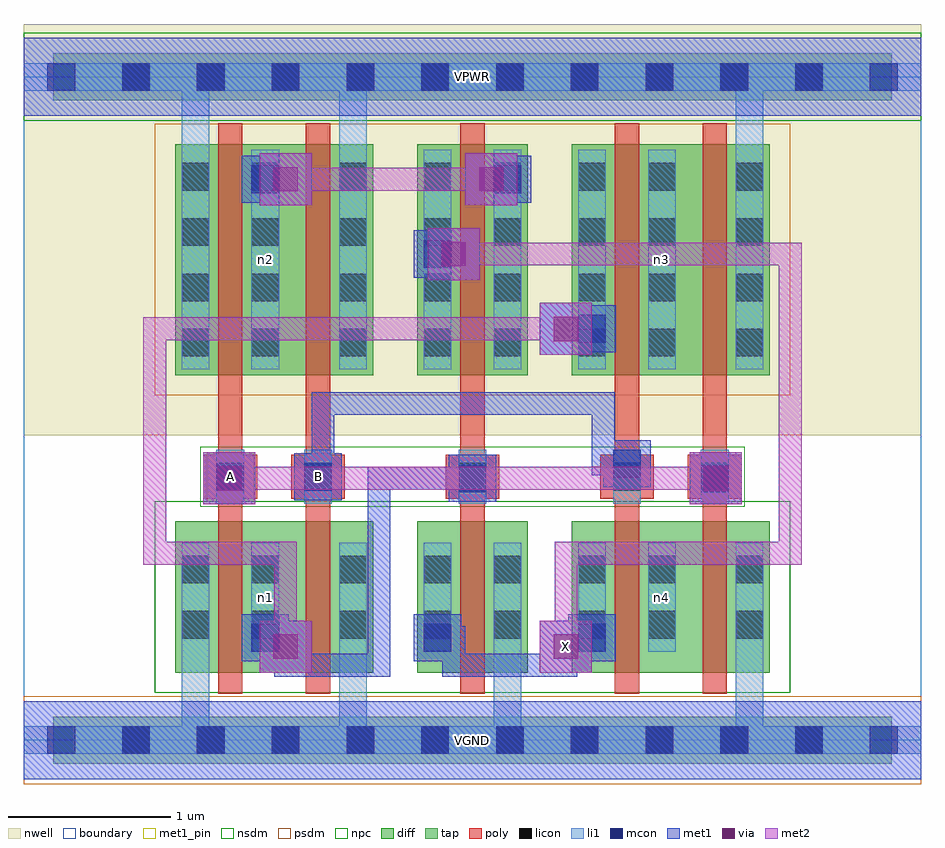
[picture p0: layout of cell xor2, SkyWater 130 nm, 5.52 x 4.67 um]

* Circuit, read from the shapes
.subckt xor2 A B VGND VPWR X n1 n2 n3 n4
XM1 n1 A VGND VGND sky130_fd_pr__nfet_01v8 w=0.93 l=0.15
XM2 VGND B n1 VGND sky130_fd_pr__nfet_01v8 w=0.93 l=0.15
XM3 VGND n1 X VGND sky130_fd_pr__nfet_01v8 w=0.93 l=0.15
XM4 n4 B X VGND sky130_fd_pr__nfet_01v8 w=0.93 l=0.15
XM5 VGND A n4 VGND sky130_fd_pr__nfet_01v8 w=0.93 l=0.15
XM6 n2 A VPWR VPWR sky130_fd_pr__pfet_01v8 w=1.42 l=0.15
XM7 VPWR B n2 VPWR sky130_fd_pr__pfet_01v8 w=1.42 l=0.15
XM8 n2 n1 X VPWR sky130_fd_pr__pfet_01v8 w=1.42 l=0.15
XM9 n3 B n1 VPWR sky130_fd_pr__pfet_01v8 w=1.42 l=0.15
XM10 VPWR A n3 VPWR sky130_fd_pr__pfet_01v8 w=1.42 l=0.15
.ends

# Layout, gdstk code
import gdstk
lib = gdstk.Library(unit=1e-6, precision=1e-09)
def R(c, l, rs):  # rectangles x0, y0, x1, y1
    for r in rs: c.add(gdstk.rectangle(r[:2], r[2:], *l))
def A(c, l, x, y, w, h, nx, ny, dx, dy):  # array of equal rectangles
    R(c, l, [(x+i*dx, y+j*dy, x+i*dx+w, y+j*dy+h) for i in range(nx) for j in range(ny)])
nwell = (64, 20)
diff = (65, 20)
tap = (65, 44)
poly = (66, 20)
licon = (66, 44)
li1 = (67, 20)
mcon = (67, 44)
met1_pin = (68, 16)
met1 = (68, 20)
via = (68, 44)
met2 = (69, 20)
nsdm = (93, 44)
psdm = (94, 20)
npc = (95, 20)
boundary = (235, 4)

xor2 = lib.new_cell('xor2')
R(xor2, nwell, [(0,1.875,5.52,4.405)])
R(xor2, diff, [(0.93,0.415,2.15,1.345), (2.42,0.415,3.1,1.345), (3.37,0.415,4.59,1.345), (0.93,2.245,2.15,3.665), (2.42,2.245,3.1,3.665), (3.37,2.245,4.59,3.665)])
R(xor2, tap, [(0.18,-0.145,5.34,0.145), (0.18,3.935,5.34,4.225)])
A(xor2, poly, 1.735, 0.285, 0.15, 3.51, 3, 1, 0.95, 0)
A(xor2, poly, 1.645, 1.485, 0.33, 0.27, 3, 1, 0.95, 0)
R(xor2, poly, [(1.195,0.285,1.345,3.795), (4.175,0.285,4.325,3.795), (1.105,1.485,1.435,1.755), (4.085,1.485,4.415,1.755)])
A(xor2, licon, 0.605, -0.085, 0.17, 0.17, 10, 2, 0.46, 4.08)
A(xor2, licon, 1.725, 1.535, 0.17, 0.17, 3, 1, 0.95, 0)
A(xor2, licon, 0.97, 2.36, 0.17, 0.17, 1, 4, 0, 0.34)
A(xor2, licon, 1.4, 2.36, 0.17, 0.17, 1, 4, 0, 0.34)
A(xor2, licon, 1.94, 2.36, 0.17, 0.17, 1, 4, 0, 0.34)
A(xor2, licon, 2.46, 2.36, 0.17, 0.17, 1, 4, 0, 0.34)
A(xor2, licon, 2.89, 2.36, 0.17, 0.17, 1, 4, 0, 0.34)
A(xor2, licon, 3.41, 2.36, 0.17, 0.17, 1, 4, 0, 0.34)
A(xor2, licon, 3.84, 2.36, 0.17, 0.17, 1, 4, 0, 0.34)
A(xor2, licon, 4.38, 2.36, 0.17, 0.17, 1, 4, 0, 0.34)
R(xor2, licon, [(0.97,0.625,1.14,0.795), (1.4,0.625,1.57,0.795), (1.94,0.625,2.11,0.795), (2.46,0.625,2.63,0.795), (2.89,0.625,3.06,0.795), (3.41,0.625,3.58,0.795), (3.84,0.625,4.01,0.795), (4.38,0.625,4.55,0.795), (0.97,0.965,1.14,1.135), (1.4,0.965,1.57,1.135), (1.94,0.965,2.11,1.135), (2.46,0.965,2.63,1.135), (2.89,0.965,3.06,1.135), (3.41,0.965,3.58,1.135), (3.84,0.965,4.01,1.135), (4.38,0.965,4.55,1.135), (1.185,1.535,1.355,1.705), (4.165,1.535,4.335,1.705)])
A(xor2, li1, 1.725, 1.455, 0.17, 0.33, 3, 1, 0.95, 0)
R(xor2, li1, [(0,-0.085,5.52,0.085), (0.97,-0.085,1.14,1.215), (1.94,-0.085,2.11,1.215), (2.89,-0.085,3.06,1.215), (4.38,-0.085,4.55,1.215), (0.97,0.545,1.14,1.215), (1.4,0.545,1.57,1.215), (1.94,0.545,2.11,1.215), (2.46,0.545,2.63,1.215), (2.89,0.545,3.06,1.215), (3.41,0.545,3.58,1.215), (3.84,0.545,4.01,1.215), (4.38,0.545,4.55,1.215), (1.185,1.455,1.355,1.785), (4.165,1.455,4.335,1.785), (0.97,2.28,1.14,3.63), (0.97,2.28,1.14,4.165), (1.4,2.28,1.57,3.63), (1.94,2.28,2.11,3.63), (1.94,2.28,2.11,4.165), (2.46,2.28,2.63,3.63), (2.89,2.28,3.06,3.63), (3.41,2.28,3.58,3.63), (3.84,2.28,4.01,3.63), (4.38,2.28,4.55,3.63), (4.38,2.28,4.55,4.165), (0,3.995,5.52,4.165)])
A(xor2, mcon, 0.145, -0.085, 0.17, 0.17, 12, 2, 0.46, 4.08)
R(xor2, mcon, [(1.4,0.545,1.57,0.715), (2.46,0.545,2.63,0.715), (3.41,0.545,3.58,0.715), (2.675,1.525,2.845,1.695), (4.165,1.525,4.335,1.695), (1.185,1.535,1.355,1.705), (1.725,1.535,1.895,1.705), (3.625,1.615,3.795,1.785), (3.41,2.445,3.58,2.615), (2.46,2.905,2.63,3.075), (1.4,3.365,1.57,3.535), (2.89,3.365,3.06,3.535)])
R(xor2, met1_pin, [(0,-0.24,5.52,0.24), (3.175,0.415,3.495,0.735), (1.125,1.475,1.415,1.765), (1.665,1.475,1.955,1.765), (0,3.84,5.52,4.32)])
R(xor2, met1, [(0,-0.24,5.52,0.24), (1.54,0.39,1.68,0.7), (1.54,0.39,2.255,0.53), (1.54,0.39,1.68,0.645), (2.115,0.39,2.255,1.68), (2.575,0.39,2.715,0.7), (2.575,0.39,3.405,0.53), (3.265,0.39,3.405,0.7), (3.265,0.39,3.405,0.645), (1.45,0.415,1.77,0.735), (3.175,0.415,3.495,0.735), (1.34,0.485,1.63,0.775), (2.4,0.485,2.69,0.775), (3.35,0.485,3.64,0.775), (1.415,0.56,1.68,0.7), (2.475,0.56,2.715,0.7), (3.265,0.56,3.565,0.7), (1.105,1.45,1.425,1.77), (4.095,1.45,4.415,1.77), (2.615,1.465,2.905,1.755), (4.105,1.465,4.395,1.755), (1.125,1.475,1.415,1.765), (1.665,1.475,1.955,1.765), (1.195,1.54,1.335,1.68), (1.77,1.54,1.91,1.68), (1.77,1.54,1.91,2.14), (2.115,1.54,2.83,1.68), (4.18,1.54,4.325,1.68), (3.565,1.555,3.855,1.845), (3.495,1.63,3.78,1.77), (3.495,1.63,3.635,1.91), (3.495,1.77,3.635,2.14), (1.77,2,3.635,2.14), (3.175,2.37,3.495,2.69), (3.35,2.385,3.64,2.675), (3.265,2.46,3.565,2.6), (2.485,2.83,2.805,3.15), (2.4,2.845,2.69,3.135), (2.475,2.92,2.715,3.06), (1.45,3.29,1.77,3.61), (2.715,3.29,3.035,3.61), (1.34,3.305,1.63,3.595), (2.83,3.305,3.12,3.595), (1.415,3.38,1.68,3.52), (2.805,3.38,3.045,3.52), (0,3.84,5.52,4.32)])
R(xor2, via, [(1.535,0.5,1.685,0.65), (3.26,0.5,3.41,0.65), (1.19,1.535,1.34,1.685), (4.18,1.535,4.33,1.685), (3.26,2.455,3.41,2.605), (2.57,2.915,2.72,3.065), (1.535,3.375,1.685,3.525), (2.8,3.375,2.95,3.525)])
R(xor2, met2, [(1.45,0.415,1.77,0.735), (3.175,0.415,3.495,0.735), (1.54,0.505,1.68,1.22), (3.265,0.505,3.405,1.22), (0.735,1.08,1.68,1.22), (0.735,1.08,0.875,2.6), (3.265,1.08,4.785,1.22), (4.645,1.08,4.785,3.06), (1.105,1.45,1.425,1.77), (4.095,1.45,4.415,1.77), (1.195,1.54,4.325,1.68), (3.175,2.37,3.495,2.69), (0.735,2.46,3.405,2.6), (2.485,2.83,2.805,3.15), (2.575,2.92,4.785,3.06), (1.45,3.29,1.77,3.61), (2.715,3.29,3.035,3.61), (1.54,3.38,2.945,3.52)])
R(xor2, nsdm, [(0.805,0.29,4.715,1.47), (0,3.81,5.52,4.35)])
R(xor2, psdm, [(0,-0.27,5.52,0.27), (0.805,2.12,4.715,3.79)])
R(xor2, npc, [(1.085,1.435,4.435,1.805)])
R(xor2, boundary, [(0,0,5.52,4.08)])
xor2.add(gdstk.Label('n1', (1.485,0.88), layer=67, texttype=5))
xor2.add(gdstk.Label('n4', (3.925,0.88), layer=67, texttype=5))
xor2.add(gdstk.Label('n2', (1.485,2.955), layer=67, texttype=5))
xor2.add(gdstk.Label('n3', (3.925,2.955), layer=67, texttype=5))
xor2.add(gdstk.Label('A', (1.27,1.62), layer=68, texttype=5))
xor2.add(gdstk.Label('B', (1.81,1.62), layer=68, texttype=5))
xor2.add(gdstk.Label('X', (3.335,0.575), layer=68, texttype=5))
xor2.add(gdstk.Label('VPWR', (2.76,4.08), layer=68, texttype=5))
xor2.add(gdstk.Label('VGND', (2.76,0), layer=68, texttype=5))
xor2.add(gdstk.Label('A', (1.27,1.62), layer=68, texttype=16))
xor2.add(gdstk.Label('B', (1.81,1.62), layer=68, texttype=16))
xor2.add(gdstk.Label('X', (3.335,0.575), layer=68, texttype=16))
xor2.add(gdstk.Label('VPWR', (2.76,4.08), layer=68, texttype=16))
xor2.add(gdstk.Label('VGND', (2.76,0), layer=68, texttype=16))

lib.write_gds('xor2.gds')
